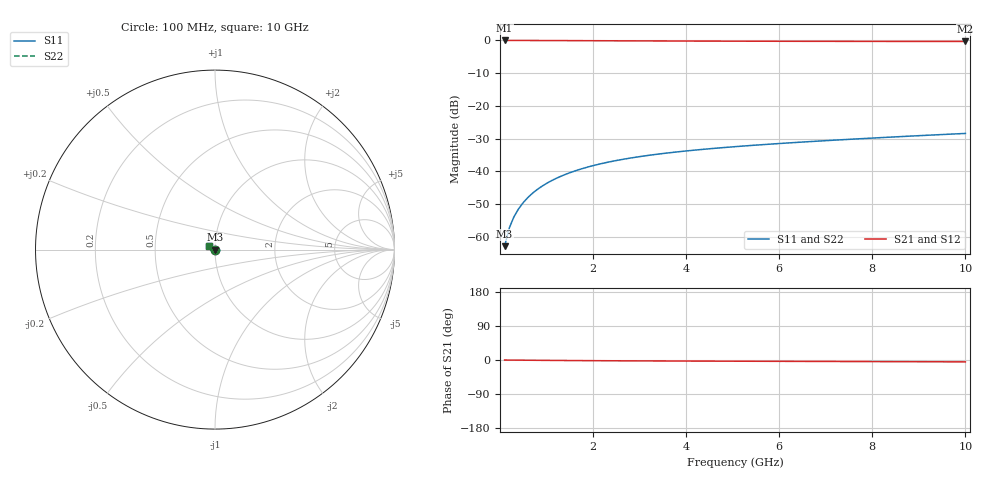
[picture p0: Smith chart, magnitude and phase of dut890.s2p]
! Touchstone file exported from HFSS 2024.1.0
!  File:  C:/UserFiles/LocalFiles/RDL_TSV_Batchsim/temp_TSV1_890_1779884769.aedt
!  Generated:  08:33:47 PM May 27, 2026
!  Design:  TSV1
!  Project:  temp_TSV1_890_1779884769
!  Setup:  Setup1
!  Solution:  Sweep
! Variables:
!  dtsv = 7.05um
!  hbump = 3um
!  htsv = 70.97um
!  lrdl = 252.1521522um
!  p = 40
!  p1 = 55.84um
!  t = 500um
!  trdl = 3um
!  wrdl = 24.89489489um
# GHz S MA R 50.000000
! Terminal data exported
! Port[1] = TSV22_T1
! Port[2] = TSV22_T2
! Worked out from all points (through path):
!   100 points, 100 MHz to 10 GHz, reference 50 ohm
!   highest |S21| = 0.00 dB at 100 MHz (marker M1); lowest = -0.3 dB at 10 GHz (marker M2)
!   lowest |S11| = -62.9 dB at 100 MHz (marker M3), VSWR 1.00, Z = 50 - j0.0678 ohm
!   |S11| at or under -10 dB: start of sweep to end of sweep
!   |S22| runs from -62.9 to -28.4 dB; largest |S21 - S12| = 1.2e-14
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0.1  0.0007187 -70.5  0.9997 -0.1  0.9997 -0.1  0.0007187 -70.5
! Gamma 0 0 0 0
! Port Impedance 50 0 50 0
0.2  0.001359 -83.4  0.9996 -0.2  0.9996 -0.2  0.001359 -83.4
0.3  0.002015 -89.5  0.9995 -0.3  0.9995 -0.3  0.002015 -89.5
0.4  0.002673 -93.8  0.9993 -0.4  0.9993 -0.4  0.002673 -93.8
0.5  0.003329 -97.3  0.999 -0.5  0.999 -0.5  0.003329 -97.3
0.6  0.003982 -100.3  0.9987 -0.6  0.9987 -0.6  0.003982 -100.3
0.7  0.00463 -103.2  0.9983 -0.7  0.9983 -0.7  0.00463 -103.2
0.8  0.005272 -105.9  0.9979 -0.8  0.9979 -0.8  0.005272 -105.9
0.9  0.005907 -108.4  0.9975 -0.9  0.9975 -0.9  0.005907 -108.4
1.1  0.007151 -113.3  0.9965 -1.1  0.9965 -1.1  0.007151 -113.3
1.4  0.008942 -120.1  0.9948 -1.3  0.9948 -1.3  0.008942 -120.1
1.6  0.01008 -124.4  0.9936 -1.5  0.9936 -1.5  0.01008 -124.4
1.8  0.01117 -128.6  0.9923 -1.6  0.9923 -1.6  0.01117 -128.6
2.1  0.01272 -134.5  0.9903 -1.8  0.9903 -1.8  0.01272 -134.5
2.5  0.01463 -141.9  0.9877 -2.1  0.9877 -2.1  0.01463 -141.9
2.9  0.01637 -148.8  0.9851 -2.3  0.9851 -2.3  0.01637 -148.8
3.4  0.01834 -156.7  0.9822 -2.5  0.9822 -2.5  0.01834 -156.7
4.2  0.02115 -167.7  0.9781 -2.9  0.9781 -2.9  0.02115 -167.7
5.1  0.02397 -178.3  0.9744 -3.2  0.9744 -3.2  0.02397 -178.3
6.7  0.02858 166.6  0.9699 -3.8  0.9699 -3.8  0.02858 166.6
8.4  0.03336 154.4  0.9667 -4.3  0.9667 -4.3  0.03336 154.4
10  0.03794 145.4  0.9645 -4.9  0.9645 -4.9  0.03794 145.4
